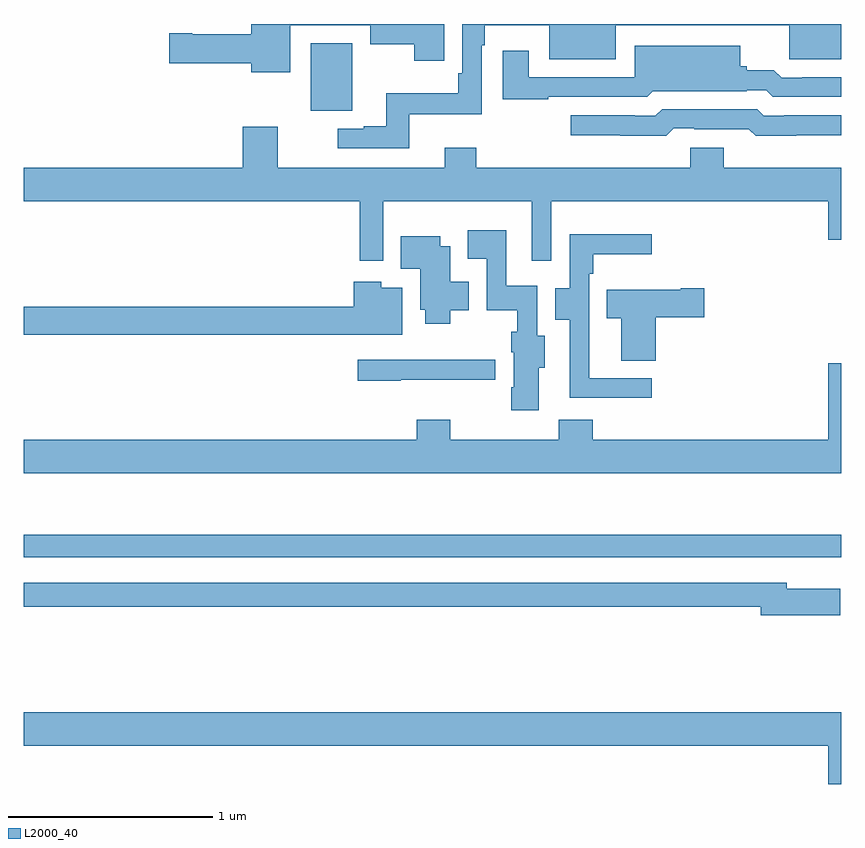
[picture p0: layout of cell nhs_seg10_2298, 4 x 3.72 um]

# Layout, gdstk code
import gdstk
lib = gdstk.Library(unit=1e-6, precision=1e-09)
def R(c, l, rs):  # rectangles x0, y0, x1, y1
    for r in rs: c.add(gdstk.rectangle(r[:2], r[2:], *l))
def P(c, l, *ps):  # polygons
    for p in ps: c.add(gdstk.Polygon(p, *l))
L2000_40 = (2000, 40)

nhs_seg10_2298 = lib.new_cell('nhs_seg10_2298')
R(nhs_seg10_2298, L2000_40, [(234.404,1318.076,234.607,1318.405)])
P(nhs_seg10_2298, L2000_40, [(234.886,1318.058),(235.242,1318.058),(235.242,1318.397),(235.255,1318.397),(235.255,1318.494),(235.571,1318.494),(235.571,1318.328),(235.897,1318.328),(235.897,1318.494),(236.747,1318.494),(236.747,1318.328),(237,1318.328),(237,1318.5),(235.146,1318.5),(235.146,1318.258),(235.126,1318.258),(235.126,1318.162),(234.773,1318.162),(234.773,1318),(234.663,1318),(234.663,1317.987),(234.537,1317.987),(234.537,1317.891),(234.886,1317.891)],
  [(234.304,1318.494),(234.696,1318.494),(234.696,1318.402),(234.91,1318.402),(234.91,1318.32),(235.057,1318.32),(235.057,1318.5),(234.113,1318.5),(234.113,1318.449),(233.824,1318.449),(233.824,1318.454),(233.712,1318.454),(233.712,1318.307),(234.113,1318.307),(234.113,1318.265),(234.304,1318.265)],
  [(235.567,1318.143),(236.05,1318.143),(236.079,1318.172),(236.537,1318.172),(236.537,1318.176),(236.633,1318.176),(236.666,1318.143),(237,1318.143),(237,1318.239),(236.809,1318.239),(236.809,1318.236),(236.709,1318.236),(236.671,1318.274),(236.538,1318.274),(236.538,1318.294),(236.506,1318.294),(236.506,1318.393),(235.989,1318.393),(235.989,1318.239),(235.471,1318.239),(235.471,1318.369),(235.343,1318.369),(235.343,1318.131),(235.567,1318.131)],
  [(236.181,1317.99),(236.281,1317.99),(236.281,1317.986),(236.549,1317.986),(236.582,1317.954),(236.78,1317.954),(236.78,1317.956),(237,1317.956),(237,1318.053),(236.722,1318.053),(236.722,1318.05),(236.622,1318.05),(236.589,1318.083),(236.124,1318.083),(236.091,1318.05),(235.991,1318.05),(235.991,1318.053),(235.677,1318.053),(235.677,1317.956),(235.92,1317.956),(235.92,1317.954),(236.145,1317.954)],
  [(234.759,1317.632),(235.485,1317.632),(235.485,1317.342),(235.581,1317.342),(235.581,1317.632),(236.936,1317.632),(236.936,1317.444),(237,1317.444),(237,1317.796),(236.426,1317.796),(236.426,1317.895),(236.261,1317.895),(236.261,1317.796),(235.214,1317.796),(235.214,1317.895),(235.061,1317.895),(235.061,1317.796),(234.243,1317.796),(234.243,1317.997),(234.071,1317.997),(234.071,1317.796),(233,1317.796),(233,1317.632),(234.643,1317.632),(234.643,1317.342),(234.759,1317.342)],
  [(235.519,1316.818),(235.549,1316.818),(235.549,1316.973),(235.512,1316.973),(235.512,1317.22),(235.362,1317.22),(235.362,1317.49),(235.173,1317.49),(235.173,1317.35),(235.266,1317.35),(235.266,1317.098),(235.414,1317.098),(235.414,1316.994),(235.385,1316.994),(235.385,1316.894),(235.397,1316.894),(235.397,1316.722),(235.385,1316.722),(235.385,1316.61),(235.519,1316.61)],
  [(236.074,1316.766),(235.768,1316.766),(235.768,1316.963),(235.767,1316.963),(235.767,1317.278),(235.787,1317.278),(235.787,1317.374),(236.074,1317.374),(236.074,1317.472),(235.671,1317.472),(235.671,1317.207),(235.601,1317.207),(235.601,1317.052),(235.671,1317.052),(235.671,1316.67),(236.074,1316.67)],
  [(235.087,1317.098),(235.177,1317.098),(235.177,1317.238),(235.087,1317.238),(235.087,1317.412),(235.039,1317.412),(235.039,1317.46),(234.844,1317.46),(234.844,1317.302),(234.941,1317.302),(234.941,1317.102),(234.965,1317.102),(234.965,1317.032),(235.087,1317.032)],
  [(234.853,1317.208),(234.748,1317.208),(234.748,1317.238),(234.614,1317.238),(234.614,1317.116),(233,1317.116),(233,1316.98),(234.63,1316.98),(234.63,1316.978),(234.853,1316.978)],
  [(236.093,1317.065),(236.329,1317.065),(236.329,1317.207),(236.216,1317.207),(236.216,1317.199),(235.852,1317.199),(235.852,1317.059),(235.925,1317.059),(235.925,1316.851),(236.093,1316.851)],
  [(234.845,1316.759),(235.306,1316.759),(235.306,1316.857),(234.949,1316.857),(234.949,1316.856),(234.633,1316.856),(234.633,1316.755),(234.845,1316.755)],
  [(237,1316.839),(236.936,1316.839),(236.936,1316.464),(235.784,1316.464),(235.784,1316.563),(235.619,1316.563),(235.619,1316.464),(235.088,1316.464),(235.088,1316.563),(234.923,1316.563),(234.923,1316.464),(233,1316.464),(233,1316.3),(237,1316.3)],
  [(237,1315.999),(233,1315.999),(233,1315.89),(236.83,1315.89),(236.83,1315.889),(237,1315.889)],
  [(236.995,1315.735),(236.734,1315.735),(236.734,1315.764),(233,1315.764),(233,1315.648),(236.606,1315.648),(236.606,1315.606),(236.995,1315.606)],
  [(237,1315.132),(233,1315.132),(233,1314.968),(236.936,1314.968),(236.936,1314.78),(237,1314.78)])

lib.write_gds('nhs_seg10_2298.gds')
